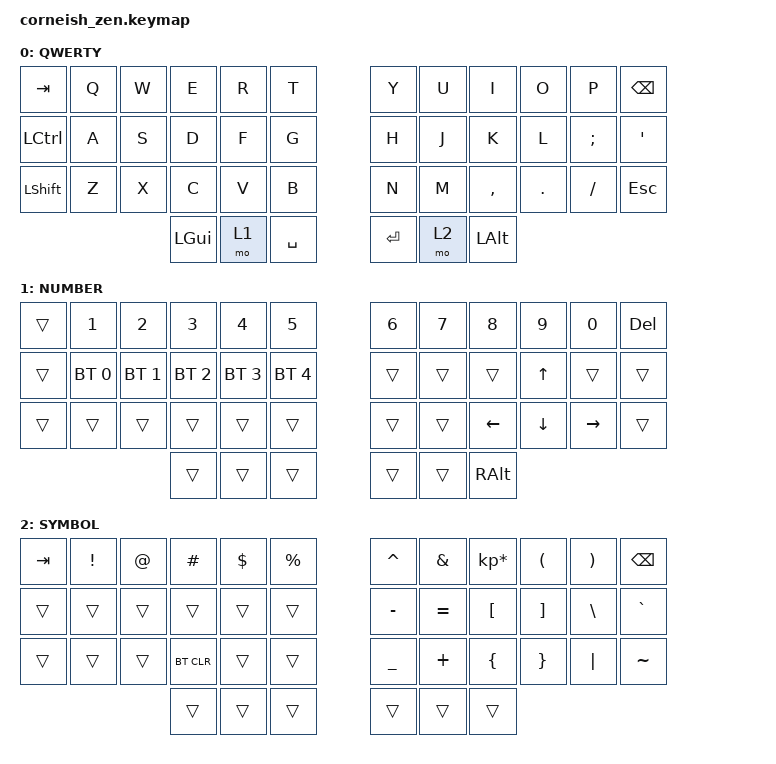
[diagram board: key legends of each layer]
#include <behaviors.dtsi>
#include <dt-bindings/zmk/keys.h>
#include <dt-bindings/zmk/bt.h>

/ {
  chosen {
    zmk,matrix_transform = &default_transform;
    //zmk,matrix_transform = &five_column_transform;
  };
};

/ {
        keymap {
                compatible = "zmk,keymap";

                default_layer {
                        label = "QWERTY";
// --------------------------------------------------------------------------------
// |  TAB |  Q  |  W  |  E  |  R  |  T  |   |  Y  |  U   |  I  |  O  |  P  | BKSP |
// | CTRL |  A  |  S  |  D  |  F  |  G  |   |  H  |  J   |  K  |  L  |  ;  |  '   |
// | SHFT |  Z  |  X  |  C  |  V  |  B  |   |  N  |  M   |  ,  |  .  |  /  | ESC  |
//                    | GUI | LWR | SPC |   | ENT | RSE  | LALT|
                        bindings = <
   &kp TAB   &kp Q &kp W &kp E &kp R &kp T   &kp Y &kp U  &kp I     &kp O   &kp P    &kp BSPC
   &kp LCTRL &kp A &kp S &kp D &kp F &kp G   &kp H &kp J  &kp K     &kp L   &kp SEMI &kp SQT
   &kp LSHFT &kp Z &kp X &kp C &kp V &kp B   &kp N &kp M  &kp COMMA &kp DOT &kp FSLH &kp ESC
                  &kp LGUI &mo 1 &kp SPACE   &kp RET &mo 2 &kp LALT
                        >;
                };
                lower_layer {
                        label = "NUMBER";
// ------------------------------------------------------------------------------
// | TAB |  1  |  2  |  3  |  4  |  5  |   |  6  |  7  |  8  |  9  |  0  | DEL  |
// |     | BT1 | BT2 | BT3 | BT4 | BT5 |   |     |     |     | UP  |     |      |
// |     |     |     |     |     |     |   |     |     | LFT | DWN | RGT |      |
//                   | GUI |     | SPC |   | ENT |     | RALT|
                        bindings = <
&trans  &kp N1       &kp N2       &kp N3       &kp N4       &kp N5         &kp N6   &kp N7   &kp N8   &kp N9    &kp N0    &kp DEL
&trans  &bt BT_SEL 0 &bt BT_SEL 1 &bt BT_SEL 2 &bt BT_SEL 3 &bt BT_SEL 4   &trans   &trans   &trans   &kp UP    &trans    &trans
&trans  &trans       &trans       &trans       &trans       &trans         &trans   &trans   &kp LEFT &kp DOWN  &kp RIGHT &trans
                          	        &trans     &trans       &trans     &trans  &trans   &kp RALT
                        >;
                };

                raise_layer {
                        label = "SYMBOL";
// ------------------------------------------------------------------------------
// | TAB |  !  |  @  |  #  |  $  |  %  |   |  ^  |  &  |  *  |  (  |  )  | BKSP |
// |     |     |     |     |     |     |   |  -  |  =  |  [  |  ]  |  \  |  `   |
// |     |     |     |BTCLR|     |     |   |  _  |  +  |  {  |  }  | "|" |  ~   |
//                   | GUI |     | SPC |   | ENT |     | ALT |
                        bindings = <
&kp  TAB  &kp EXCL &kp AT &kp HASH     &kp DLLR  &kp PRCNT   &kp CARET   &kp AMPS    &kp KP_MULTIPLY &kp LPAR   &kp RPAR   &kp BSPC
&trans    &trans   &trans &trans       &trans    &trans      &kp MINUS   &kp EQUAL   &kp LBKT        &kp RBKT   &kp BSLH   &kp GRAVE
&trans    &trans   &trans &bt BT_CLR   &trans    &trans      &kp UNDER   &kp PLUS    &kp LBRC        &kp RBRC   &kp PIPE   &kp TILDE
                    	    &trans     &trans       &trans     &trans  &trans   &trans
                        >;
                };
        };
};
